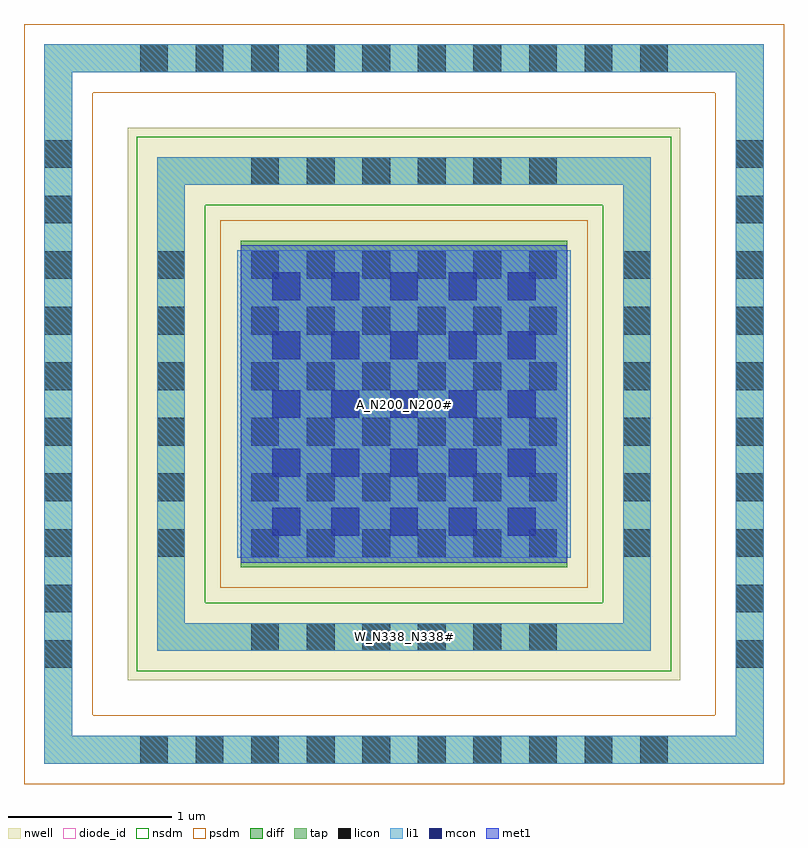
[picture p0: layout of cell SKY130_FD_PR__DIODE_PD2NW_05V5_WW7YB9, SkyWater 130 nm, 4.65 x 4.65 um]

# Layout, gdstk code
import gdstk
lib = gdstk.Library(unit=1e-6, precision=1e-09)
def R(c, l, rs):  # rectangles x0, y0, x1, y1
    for r in rs: c.add(gdstk.rectangle(r[:2], r[2:], *l))
def A(c, l, x, y, w, h, nx, ny, dx, dy):  # array of equal rectangles
    R(c, l, [(x+i*dx, y+j*dy, x+i*dx+w, y+j*dy+h) for i in range(nx) for j in range(ny)])
nwell = (64, 20)
diff = (65, 20)
tap = (65, 44)
licon = (66, 44)
li1 = (67, 20)
mcon = (67, 44)
met1 = (68, 20)
diode_id = (81, 23)
nsdm = (93, 44)
psdm = (94, 20)

sky130_fd_pr__diode_pd2n = lib.new_cell('SKY130_FD_PR__DIODE_PD2NW_05V5_WW7YB9')
R(sky130_fd_pr__diode_pd2n, nwell, [(0.635,0.635,4.015,4.015)])
R(sky130_fd_pr__diode_pd2n, diff, [(1.325,1.325,3.325,3.325)])
R(sky130_fd_pr__diode_pd2n, tap, [(0.125,0.125,4.525,0.295), (0.125,0.295,0.295,4.355), (4.355,0.295,4.525,4.355), (0.815,0.815,3.835,0.985), (0.815,0.985,0.985,3.665), (3.665,0.985,3.835,3.665), (0.815,3.665,3.835,3.835), (0.125,4.355,4.525,4.525)])
A(sky130_fd_pr__diode_pd2n, licon, 0.71, 0.125, 0.17, 0.17, 10, 2, 0.34, 4.23)
A(sky130_fd_pr__diode_pd2n, licon, 0.125, 0.71, 0.17, 0.17, 1, 10, 0, 0.34)
A(sky130_fd_pr__diode_pd2n, licon, 4.355, 0.71, 0.17, 0.17, 1, 10, 0, 0.34)
A(sky130_fd_pr__diode_pd2n, licon, 1.39, 0.815, 0.17, 0.17, 6, 2, 0.34, 0.575)
A(sky130_fd_pr__diode_pd2n, licon, 0.815, 1.39, 0.17, 0.17, 1, 6, 0, 0.34)
A(sky130_fd_pr__diode_pd2n, licon, 3.665, 1.39, 0.17, 0.17, 1, 6, 0, 0.34)
A(sky130_fd_pr__diode_pd2n, licon, 1.39, 1.73, 0.17, 0.17, 6, 5, 0.34, 0.34)
A(sky130_fd_pr__diode_pd2n, licon, 1.39, 3.665, 0.17, 0.17, 6, 1, 0.34, 0)
R(sky130_fd_pr__diode_pd2n, li1, [(0.125,0.125,4.525,0.295), (0.125,0.295,0.295,4.355), (4.355,0.295,4.525,4.355), (0.815,0.815,3.835,0.985), (0.815,0.985,0.985,3.665), (3.665,0.985,3.835,3.665), (1.305,1.385,3.345,3.265), (0.815,3.665,3.835,3.835), (0.125,4.355,4.525,4.525)])
A(sky130_fd_pr__diode_pd2n, mcon, 1.52, 1.52, 0.17, 0.17, 5, 5, 0.36, 0.36)
R(sky130_fd_pr__diode_pd2n, met1, [(1.325,1.355,3.325,3.295)])
R(sky130_fd_pr__diode_pd2n, diode_id, [(1.325,1.325,3.325,3.325)])
R(sky130_fd_pr__diode_pd2n, nsdm, [(0.69,0.69,3.96,1.11), (0.69,1.11,1.11,3.54), (3.54,1.11,3.96,3.54), (0.69,3.54,3.96,3.96)])
R(sky130_fd_pr__diode_pd2n, psdm, [(0,0,4.65,0.42), (0,0.42,0.42,4.23), (4.23,0.42,4.65,4.23), (1.2,1.2,3.45,3.45), (0,4.23,4.65,4.65)])
sky130_fd_pr__diode_pd2n.add(gdstk.Label('W_N338_N338#', (2.325,0.9), layer=67, texttype=5))
sky130_fd_pr__diode_pd2n.add(gdstk.Label('A_N200_N200#', (2.325,2.325), layer=67, texttype=5))

lib.write_gds('SKY130_FD_PR__DIODE_PD2NW_05V5_WW7YB9.gds')
